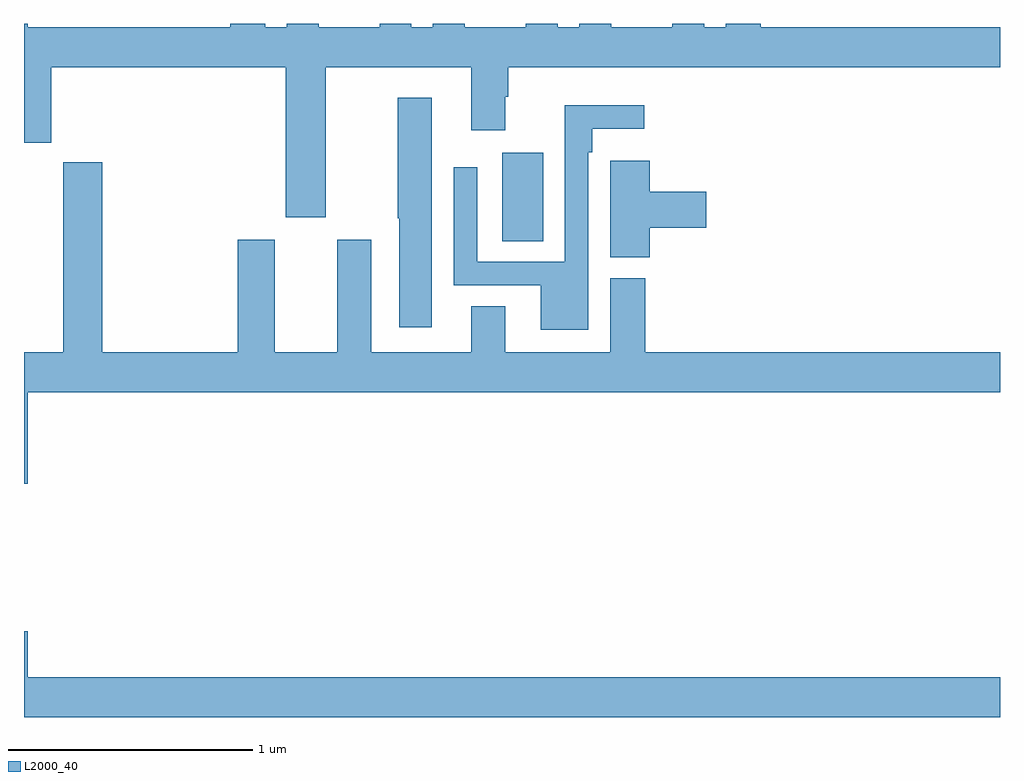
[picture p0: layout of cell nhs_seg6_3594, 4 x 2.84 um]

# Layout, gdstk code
import gdstk
lib = gdstk.Library(unit=1e-6, precision=1e-09)
def R(c, l, rs):  # rectangles x0, y0, x1, y1
    for r in rs: c.add(gdstk.rectangle(r[:2], r[2:], *l))
def P(c, l, *ps):  # polygons
    for p in ps: c.add(gdstk.Polygon(p, *l))
L2000_40 = (2000, 40)

nhs_seg6_3594 = lib.new_cell('nhs_seg6_3594')
R(nhs_seg6_3594, L2000_40, [(322.961,962.608,323.128,962.971)])
P(nhs_seg6_3594, L2000_40, [(322.237,963.32),(322.832,963.32),(322.832,963.063),(322.972,963.063),(322.972,963.2),(322.985,963.2),(322.985,963.32),(325,963.32),(325,963.484),(324.02,963.484),(324.02,963.5),(323.876,963.5),(323.876,963.484),(323.788,963.484),(323.788,963.5),(323.657,963.5),(323.657,963.484),(323.407,963.484),(323.407,963.5),(323.276,963.5),(323.276,963.484),(323.188,963.484),(323.188,963.5),(323.057,963.5),(323.057,963.484),(322.807,963.484),(322.807,963.5),(322.676,963.5),(322.676,963.484),(322.588,963.484),(322.588,963.5),(322.457,963.5),(322.457,963.484),(322.207,963.484),(322.207,963.5),(322.076,963.5),(322.076,963.484),(321.988,963.484),(321.988,963.5),(321.845,963.5),(321.845,963.484),(321.016,963.484),(321.016,963.5),(321,963.5),(321,963.011),(321.112,963.011),(321.112,963.32),(322.073,963.32),(322.073,962.706),(322.237,962.706)],
  [(322.672,963.196),(322.531,963.196),(322.531,962.701),(322.538,962.701),(322.538,962.256),(322.672,962.256)],
  [(323.313,962.972),(323.329,962.972),(323.329,963.068),(323.542,963.068),(323.542,963.166),(323.217,963.166),(323.217,962.523),(322.857,962.523),(322.857,962.911),(322.761,962.911),(322.761,962.427),(323.117,962.427),(323.117,962.246),(323.313,962.246)],
  [(323.564,962.663),(323.797,962.663),(323.797,962.81),(323.564,962.81),(323.564,962.938),(323.403,962.938),(323.403,962.825),(323.402,962.825),(323.402,962.542),(323.564,962.542)],
  [(321.016,961.988),(325,961.988),(325,962.152),(323.546,962.152),(323.546,962.457),(323.402,962.457),(323.402,962.152),(322.972,962.152),(322.972,962.342),(322.832,962.342),(322.832,962.152),(322.423,962.152),(322.423,962.614),(322.283,962.614),(322.283,962.152),(322.027,962.152),(322.027,962.614),(321.875,962.614),(321.875,962.152),(321.32,962.152),(321.32,962.932),(321.16,962.932),(321.16,962.152),(321,962.152),(321,961.614),(321.016,961.614)],
  [(325,960.82),(321.016,960.82),(321.016,961.009),(321,961.009),(321,960.656),(325,960.656)])

lib.write_gds('nhs_seg6_3594.gds')
